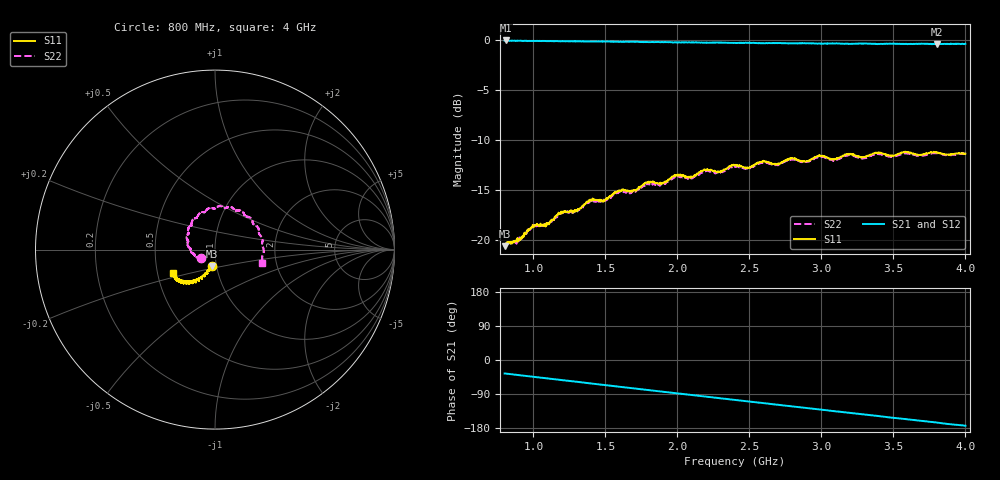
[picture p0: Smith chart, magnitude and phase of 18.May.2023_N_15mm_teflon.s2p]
!Keysight Technologies N9950B: A.12.38
!Date: Thursday, 18 May 2023 16:39:33
!Timezone: (UTC-06:00) Central Time (US & Canada)
!Model: N9950B
!Serial: MY61131330
!GPS Latitude:
!GPS Longitude:
!GPS TimeStamp: 0001-01-01 00:00:00Z
!GPS Seconds Since Last Read: 0
!CHECKSUM:1642724472
!Correction: S11(ON U)S21(ON U)S12(ON U)S22(ON U)
!S2P File: Measurements:S11,S21,S12,S22:
# Hz S DB R 50
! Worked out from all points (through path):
!   1001 points, 800 MHz to 4 GHz, reference 50 ohm
!   highest |S21| = -0.02 dB at 809.6 MHz (marker M1); lowest = -0.4 dB at 3.805 GHz (marker M2)
!   group delay of S21, straight-line fit = 120 ps
!   lowest |S11| = -20.6 dB at 800 MHz (marker M3), VSWR 1.21, Z = 47.4 - j8.71 ohm
!   |S11| at or under -10 dB: start of sweep to end of sweep
!   |S22| runs from -20.6 to -11.3 dB; largest |S21 - S12| = 0.0055
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8e8  -20.62 -101.6  -0.05 -35.6  -0.06 -35.5  -20.54 -148.3
8.096e8  -20.38 -100.0  -0.02 -35.9  -0.06 -36.0  -20.33 -147.9
8.832e8  -20.01 -103.6  -0.06 -39.2  -0.08 -39.1  -20.38 -153.3
9.984e8  -18.57 -105.2  -0.05 -44.3  -0.09 -44.2  -18.67 -161.6
1.0944e9  -18.47 -106.8  -0.08 -48.5  -0.09 -48.4  -18.44 -168.6
1.1872e9  -17.32 -109.4  -0.11 -52.6  -0.11 -52.5  -17.40 -174.9
1.3344e9  -16.71 -112.9  -0.12 -58.9  -0.13 -59.0  -16.70 174.9
1.584e9  -15.20 -115.9  -0.13 -70.1  -0.16 -70.0  -15.21 155.9
1.8688e9  -14.34 -118.5  -0.17 -82.4  -0.21 -82.4  -14.43 134.6
1.9936e9  -13.54 -122.0  -0.22 -87.9  -0.23 -87.8  -13.73 125.7
2.096e9  -13.65 -123.4  -0.21 -92.2  -0.23 -92.2  -13.85 119.3
2.192e9  -12.96 -124.3  -0.23 -96.4  -0.26 -96.4  -13.11 111.9
2.2848e9  -13.11 -125.7  -0.24 -100.5  -0.25 -100.4  -13.29 105.0
2.4e9  -12.53 -127.5  -0.26 -105.4  -0.28 -105.3  -12.67 96.5
2.4832e9  -12.81 -128.5  -0.27 -109.0  -0.27 -109.0  -12.84 90.6
2.5888e9  -12.14 -130.9  -0.29 -113.4  -0.30 -113.4  -12.24 84.0
2.6976e9  -12.37 -132.1  -0.29 -118.1  -0.30 -118.2  -12.52 76.1
2.9344e9  -11.89 -136.4  -0.32 -128.3  -0.34 -128.3  -11.98 59.9
3.1968e9  -11.40 -137.9  -0.37 -139.4  -0.38 -139.4  -11.48 39.9
3.4688e9  -11.54 -142.7  -0.35 -151.3  -0.36 -151.4  -11.65 20.8
3.8048e9  -11.26 -147.5  -0.39 -165.2  -0.40 -165.2  -11.32 -2.8
4e9  -11.36 -150.9  -0.36 -173.5  -0.39 -173.4  -11.37 -15.8
